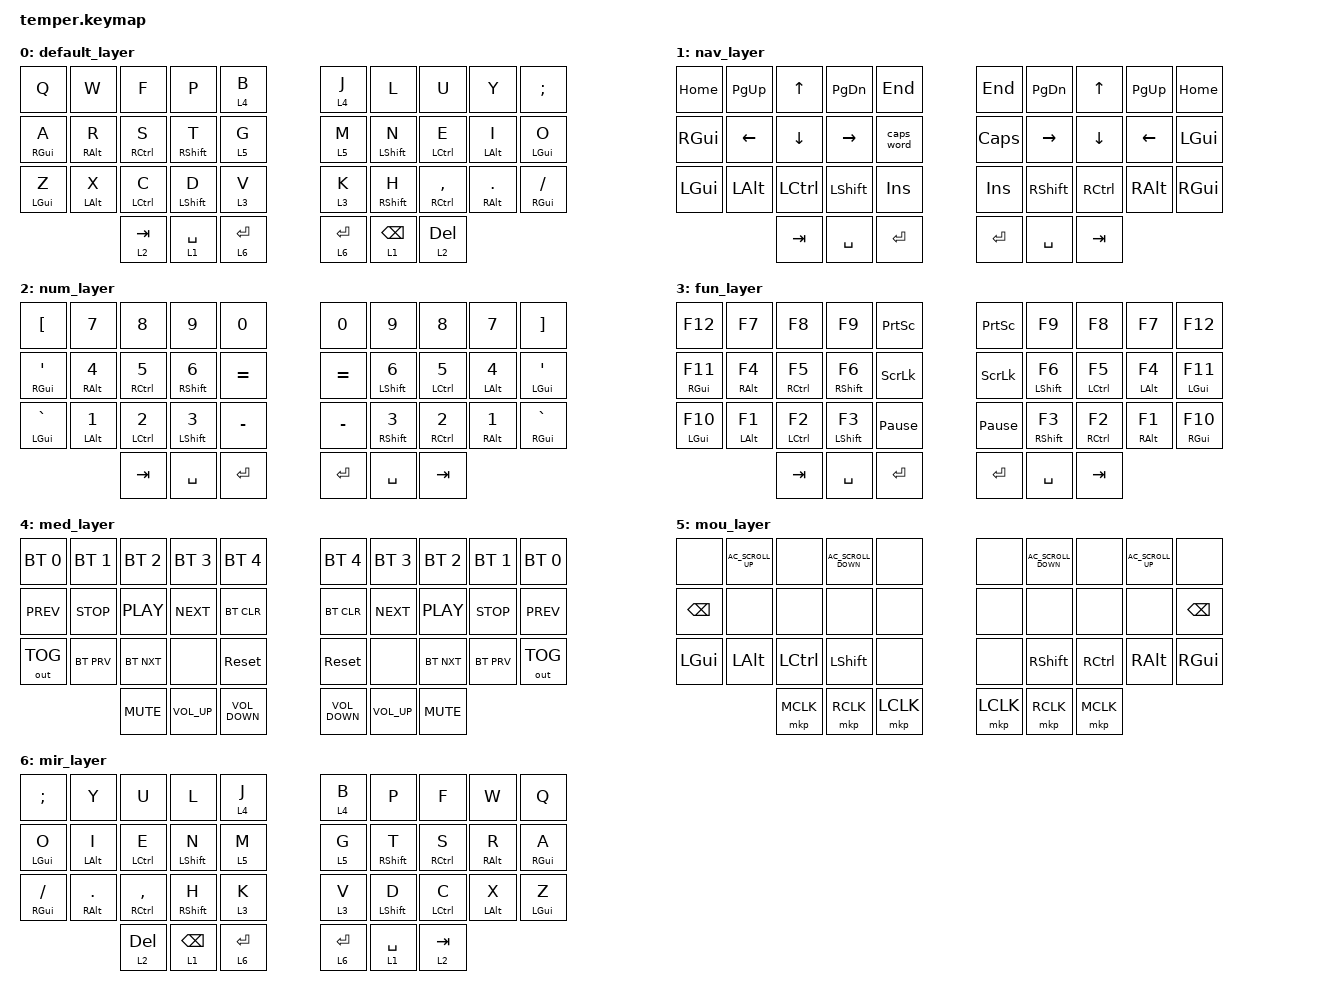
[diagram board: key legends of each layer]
/*
 * Copyright (c) 2020 The ZMK Contributors
 *
 * SPDX-License-Identifier: MIT
 */
#include <behaviors.dtsi>
#include <dt-bindings/zmk/mouse.h>
#include <dt-bindings/zmk/bt.h>
#include <dt-bindings/zmk/keys.h>
#include <dt-bindings/zmk/outputs.h>
#define BASE 0
#define NAV 1
#define NUM 2
#define FUN 3
#define MED 4
#define MOU 5
#define MIR 6
&caps_word { continue-list = <UNDERSCORE MINUS BACKSPACE N0 N1 N2 N3 N4 N5 N6 N7 N8 N9>; };
/ {
    behaviors {
        hm: homerow_mods {
            compatible = "zmk,behavior-hold-tap";
            label = "HOMEROW_MODS";
            #binding-cells = <2>;
            tapping-term-ms = <150>;
            quick_tap_ms = <0>;
            flavor = "tap-preferred";
            bindings = <&kp>, <&kp>;
        };
    };
    combos {
        compatible = "zmk,combos";
        timeout-ms = <40>;
        left-del {
            bindings = <&kp DEL>;
            key-positions = <20 21>;
        };
        right-del {
            bindings = <&kp DEL>;
            key-positions = <28 29>;
        };
        esc-left {
            bindings = <&kp ESC>;
            key-positions = <0 1>;
        };
        esc-right {
            bindings = <&kp ESC>;
            key-positions = <8 9>;
        };
        Rbracket-left {
            bindings = <&kp RIGHT_BRACKET>;
            key-positions = <0 2>;
            layers = <2>;
        };
        Rbracket-right {
            bindings = <&kp RIGHT_BRACKET>;
            key-positions = <7 9>;
            layers = <2>;
        };
        Bslash-left {
            bindings = <&kp BACKSLASH>;
            key-positions = <20 22>;
        };
        Bslash-right {
            bindings = <&kp BACKSLASH>;
            key-positions = <27 29>;
        };
        Lnav-left {
            bindings = <&to 1>;
            key-positions = <31 23 22>;
        };
        Lnav-right {
            bindings = <&to 1>;
            key-positions = <34 26 27>;
        };
        Lnum-left {
            bindings = <&to 2>;
            key-positions = <30 23 22>;
        };
        Lnum-right {
            bindings = <&to 2>;
            key-positions = <26 35 27>;
        };
        Lfun-left {
            bindings = <&to 3>;
            key-positions = <23 24 22>;
        };
        Lfun-right {
            bindings = <&to 3>;
            key-positions = <25 26 27>;
        };
        Lmou-left {
            bindings = <&to 5>;
            key-positions = <23 14 22>;
        };
        Lmou-right {
            bindings = <&to 5>;
            key-positions = <15 26 27>;
        };
        Lmed-left {
            bindings = <&to 4>;
            key-positions = <4 23 22>;
        };
        Lmed-right {
            bindings = <&to 4>;
            key-positions = <5 26 27>;
        };
        Todef-left {
            bindings = <&to 0>;
            key-positions = <0 32>;
        };
        Todef-right {
            bindings = <&to 0>;
            key-positions = <9 33>;
        };
        left-bksp {
            bindings = <&kp BSPC>;
            key-positions = <10 11>;
        };
        right-bksp {
            bindings = <&kp BSPC>;
            key-positions = <18 19>;
        };
    };
    keymap {
        compatible = "zmk,keymap";
        default_layer {
            bindings = <
&kp Q       &kp W       &kp F        &kp P        &lt 4 B      &lt 4 J      &kp L        &kp U            &kp Y         &kp SEMI
&hm RGUI A  &hm RALT R  &hm RCTRL S  &hm RSHFT T  &lt 5 G      &lt 5 M      &hm LSHFT N  &hm LCTRL E      &hm LALT I    &hm LGUI O
&hm LGUI Z  &hm LALT X  &hm LCTRL C  &hm LSHFT D  &lt 3 V      &lt 3 K      &hm RSHFT H  &hm RCTRL COMMA  &hm RALT DOT  &hm RGUI FSLH
                        &lt 2 TAB    &lt 1 SPACE  &lt 6 ENTER  &lt 6 ENTER  &lt 1 BSPC   &lt 2 DEL
            >;
        };
        nav_layer {
            bindings = <
&kp HOME  &kp PAGE_UP     &kp UP_ARROW    &kp PAGE_DOWN  &kp END     &kp END    &kp PAGE_DOWN  &kp UP_ARROW    &kp PAGE_UP  &kp HOME
&kp RGUI  &kp LEFT_ARROW  &kp DOWN_ARROW  &kp RIGHT      &caps_word  &kp CAPS   &kp RIGHT      &kp DOWN_ARROW  &kp LEFT     &kp LGUI
&kp LGUI  &kp LALT        &kp LCTRL       &kp LSHFT      &kp INS     &kp INS    &kp RSHFT      &kp RCTRL       &kp RALT     &kp RGUI
                          &kp TAB         &kp SPACE      &kp ENTER   &kp ENTER  &kp SPACE      &kp TAB
            >;
        };
        num_layer {
            bindings = <
&kp LEFT_BRACKET  &kp N7             &kp N8              &kp N9              &kp NUMBER_0  &kp N0     &kp N9              &kp N8              &kp N7             &kp RIGHT_BRACKET
&hm RGUI SQT      &hm RALT NUMBER_4  &hm RCTRL N5        &hm RSHFT NUMBER_6  &kp EQUAL     &kp EQUAL  &hm LSHFT NUMBER_6  &hm LCTRL N5        &hm LALT NUMBER_4  &hm LGUI SQT
&hm LGUI GRAVE    &hm LALT NUMBER_1  &hm LCTRL NUMBER_2  &hm LSHFT NUMBER_3  &kp MINUS     &kp MINUS  &hm RSHFT NUMBER_3  &hm RCTRL NUMBER_2  &hm RALT NUMBER_1  &hm RGUI GRAVE
                                     &kp TAB             &kp SPACE           &kp ENTER     &kp ENTER  &kp SPACE           &kp TAB
            >;
        };
        fun_layer {
            bindings = <
&kp F12       &kp F7       &kp F8        &kp F9        &kp PSCRN        &kp PRINTSCREEN  &kp F9             &kp F8        &kp F7       &kp F12
&hm RGUI F11  &hm RALT F4  &hm RCTRL F5  &hm RSHFT F6  &kp SCROLLLOCK   &kp SCROLLLOCK   &mt LEFT_SHIFT F6  &hm LCTRL F5  &hm LALT F4  &hm LGUI F11
&hm LGUI F10  &hm LALT F1  &hm LCTRL F2  &hm LSHFT F3  &kp PAUSE_BREAK  &kp PAUSE_BREAK  &hm RSHFT F3       &hm RCTRL F2  &hm RALT F1  &hm RGUI F10
                           &kp TAB       &kp SPACE     &kp ENTER        &kp ENTER        &kp SPACE          &kp TAB
            >;
        };
        med_layer {
            bindings = <
&bt BT_SEL 0  &bt BT_SEL 1  &bt BT_SEL 2  &bt BT_SEL 3     &bt BT_SEL 4       &bt BT_SEL 4       &bt BT_SEL 3     &bt BT_SEL 2  &bt BT_SEL 1  &bt BT_SEL 0
&kp C_PREV    &kp C_STOP    &kp C_PLAY    &kp C_NEXT       &bt BT_CLR         &bt BT_CLR         &kp C_NEXT       &kp C_PLAY    &kp C_STOP    &kp C_PREV
&out OUT_TOG  &bt BT_PRV    &bt BT_NXT    &none            &sys_reset         &sys_reset         &none            &bt BT_NXT    &bt BT_PRV    &out OUT_TOG
                            &kp C_MUTE    &kp C_VOLUME_UP  &kp C_VOLUME_DOWN  &kp C_VOLUME_DOWN  &kp C_VOLUME_UP  &kp C_MUTE
            >;
        };
        mou_layer {
            bindings = <
&none     &kp C_AC_SCROLL_UP  &none      &kp C_AC_SCROLL_DOWN  &none      &none      &kp C_AC_SCROLL_DOWN  &none      &kp C_AC_SCROLL_UP  &none
&kp BSPC  &none               &none      &none                 &none      &none      &none                 &none      &none               &kp BSPC
&kp LGUI  &kp LALT            &kp LCTRL  &kp LSHFT             &none      &none      &kp RSHFT             &kp RCTRL  &kp RALT            &kp RGUI
                              &mkp MCLK  &mkp RCLK             &mkp LCLK  &mkp LCLK  &mkp RCLK             &mkp MCLK
            >;
        };
        mir_layer {
            bindings = <
&kp SEMI       &kp Y         &kp U            &kp L        &lt 4 J      &lt 4 B      &kp P        &kp F        &kp W       &kp Q
&hm LGUI O     &hm LALT I    &hm LCTRL E      &hm LSHFT N  &lt 5 M      &lt 5 G      &hm RSHFT T  &hm RCTRL S  &hm RALT R  &hm RGUI A
&hm RGUI FSLH  &hm RALT DOT  &hm RCTRL COMMA  &hm RSHFT H  &lt 3 K      &lt 3 V      &hm LSHFT D  &hm LCTRL C  &hm LALT X  &hm LGUI Z
                             &lt 2 DEL        &lt 1 BSPC   &lt 6 ENTER  &lt 6 ENTER  &lt 1 SPACE  &lt 2 TAB
            >;
        };
    };
};
